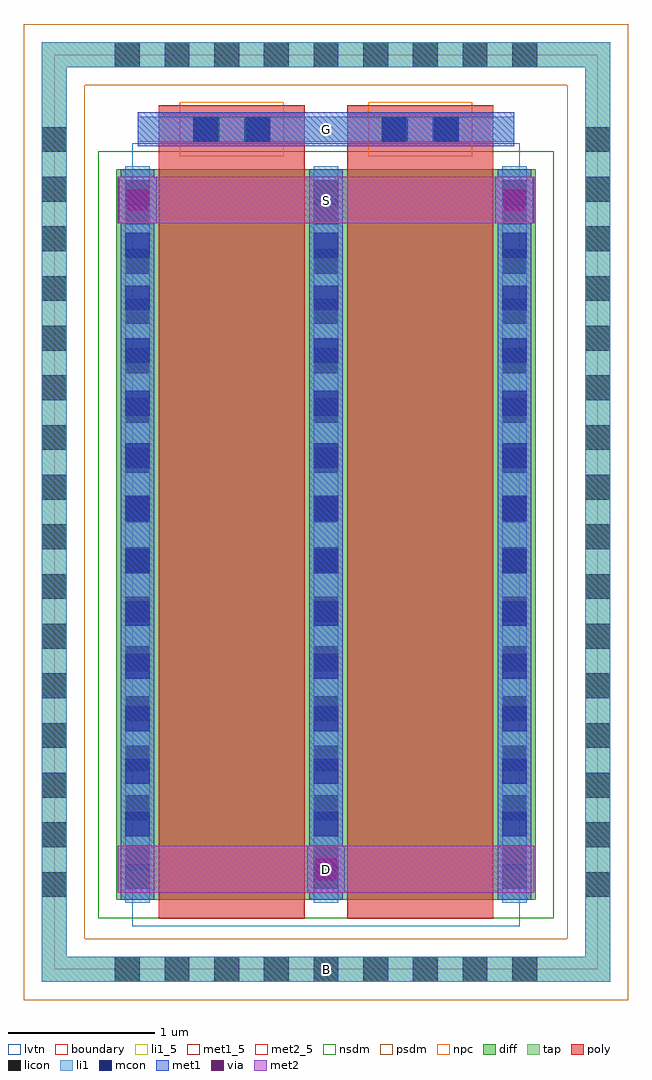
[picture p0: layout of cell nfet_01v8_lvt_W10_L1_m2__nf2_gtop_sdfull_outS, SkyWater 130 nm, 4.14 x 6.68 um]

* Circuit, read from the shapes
.subckt nfet_01v8_lvt_W10_L1_m2__nf2_gtop_sdfull_outS B D G S
XM1 D G S B sky130_fd_pr__nfet_01v8_lvt w=5 l=1 m=2
.ends

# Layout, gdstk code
import gdstk
lib = gdstk.Library(unit=1e-6, precision=1e-09)
def R(c, l, rs):  # rectangles x0, y0, x1, y1
    for r in rs: c.add(gdstk.rectangle(r[:2], r[2:], *l))
def A(c, l, x, y, w, h, nx, ny, dx, dy):  # array of equal rectangles
    R(c, l, [(x+i*dx, y+j*dy, x+i*dx+w, y+j*dy+h) for i in range(nx) for j in range(ny)])
diff = (65, 20)
tap = (65, 44)
poly = (66, 20)
licon = (66, 44)
li1_5 = (67, 5)
li1 = (67, 20)
mcon = (67, 44)
met1_5 = (68, 5)
met1 = (68, 20)
via = (68, 44)
met2_5 = (69, 5)
met2 = (69, 20)
nsdm = (93, 44)
psdm = (94, 20)
npc = (95, 20)
lvtn = (125, 44)
boundary = (235, 4)

sky130_fd_pr__nfet_01v8_ = lib.new_cell('sky130_fd_pr__nfet_01v8_lvt_2A8MMV')
R(sky130_fd_pr__nfet_01v8_, diff, [(-1.435,-2.655,1.435,2.345)])
R(sky130_fd_pr__nfet_01v8_, tap, [(-1.945,-3.215,1.945,-3.045), (-1.945,-3.045,-1.775,3.045), (1.775,-3.045,1.945,3.045), (-1.945,3.045,1.945,3.215)])
R(sky130_fd_pr__nfet_01v8_, poly, [(-1.145,-2.785,-0.145,2.785), (0.145,-2.785,1.145,2.785)])
A(sky130_fd_pr__nfet_01v8_, licon, -1.445, -3.215, 0.17, 0.17, 9, 2, 0.34, 6.26)
A(sky130_fd_pr__nfet_01v8_, licon, -1.945, -2.635, 0.17, 0.17, 1, 16, 0, 0.34)
A(sky130_fd_pr__nfet_01v8_, licon, 1.775, -2.635, 0.17, 0.17, 1, 16, 0, 0.34)
A(sky130_fd_pr__nfet_01v8_, licon, -1.375, -2.45, 0.17, 0.17, 3, 14, 1.29, 0.34)
R(sky130_fd_pr__nfet_01v8_, licon, [(-0.9,2.535,-0.73,2.705), (-0.56,2.535,-0.39,2.705), (0.39,2.535,0.56,2.705), (0.73,2.535,0.9,2.705)])
A(sky130_fd_pr__nfet_01v8_, li1, -1.375, -2.675, 0.17, 5.04, 3, 1, 1.29, 0)
R(sky130_fd_pr__nfet_01v8_, li1, [(-1.945,-3.215,1.945,-3.045), (-1.945,-3.045,-1.775,3.045), (1.775,-3.045,1.945,3.045), (-1.29,2.535,1.29,2.705), (-1.945,3.045,1.945,3.215)])
A(sky130_fd_pr__nfet_01v8_, mcon, -1.375, -2.58, 0.17, 0.17, 3, 14, 1.29, 0.36)
R(sky130_fd_pr__nfet_01v8_, mcon, [(-0.91,2.535,-0.74,2.705), (-0.55,2.535,-0.38,2.705), (0.38,2.535,0.55,2.705), (0.74,2.535,0.91,2.705)])
A(sky130_fd_pr__nfet_01v8_, met1, -1.405, -2.655, 0.23, 5, 3, 1, 1.29, 0)
R(sky130_fd_pr__nfet_01v8_, met1, [(-1.125,2.505,-0.165,2.535), (0.165,2.505,1.125,2.535), (-1.29,2.535,1.29,2.705), (-1.125,2.705,-0.165,2.735), (0.165,2.705,1.125,2.735)])
R(sky130_fd_pr__nfet_01v8_, nsdm, [(-1.56,-2.78,1.56,2.47)])
R(sky130_fd_pr__nfet_01v8_, psdm, [(-2.07,-3.34,2.07,-2.92), (-2.07,-2.92,-1.65,2.92), (1.65,-2.92,2.07,2.92), (-2.07,2.92,2.07,3.34)])
R(sky130_fd_pr__nfet_01v8_, npc, [(-1,2.435,-0.29,2.805), (0.29,2.435,1,2.805)])
R(sky130_fd_pr__nfet_01v8_, lvtn, [(-1.325,-2.835,1.325,2.525)])
R(sky130_fd_pr__nfet_01v8_, boundary, [(-1.86,-3.13,1.86,3.13)])
sky130_fd_pr__nfet_01v8_.add(gdstk.Label('B', (0,-3.13), layer=67, texttype=5))
sky130_fd_pr__nfet_01v8_.add(gdstk.Label('D0', (-1.29,-0.155), layer=67, texttype=5))
sky130_fd_pr__nfet_01v8_.add(gdstk.Label('G', (0.645,2.62), layer=67, texttype=5))
sky130_fd_pr__nfet_01v8_.add(gdstk.Label('G', (-0.645,2.62), layer=67, texttype=5))
sky130_fd_pr__nfet_01v8_.add(gdstk.Label('S1', (0,-0.155), layer=67, texttype=5))

nfet_01v8_lvt_w10_l1_m2_ = lib.new_cell('nfet_01v8_lvt_W10_L1_m2__nf2_gtop_sdfull_outS')
R(nfet_01v8_lvt_w10_l1_m2_, li1_5, [(1.775,-0.085,1.945,0.085)])
R(nfet_01v8_lvt_w10_l1_m2_, li1, [(1.775,-0.085,1.945,0.085)])
R(nfet_01v8_lvt_w10_l1_m2_, met1_5, [(0.57,5.635,3.15,5.865)])
R(nfet_01v8_lvt_w10_l1_m2_, met1, [(1.73,0.525,1.99,0.845), (0.44,5.105,0.7,5.425), (3.02,5.105,3.28,5.425), (0.57,5.635,3.15,5.865)])
R(nfet_01v8_lvt_w10_l1_m2_, via, [(1.785,0.61,1.935,0.76), (0.495,5.19,0.645,5.34), (3.075,5.19,3.225,5.34)])
R(nfet_01v8_lvt_w10_l1_m2_, met2_5, [(0.435,0.525,3.285,0.845), (0.435,5.105,3.285,5.425)])
R(nfet_01v8_lvt_w10_l1_m2_, met2, [(0.435,0.525,3.285,0.845), (0.435,5.105,3.285,5.425)])
nfet_01v8_lvt_w10_l1_m2_.add(gdstk.Reference(sky130_fd_pr__nfet_01v8_, (1.86,3.13)))
nfet_01v8_lvt_w10_l1_m2_.add(gdstk.Label('S', (1.86,5.265), layer=69, texttype=5))
nfet_01v8_lvt_w10_l1_m2_.add(gdstk.Label('D', (1.86,0.685), layer=69, texttype=5))
nfet_01v8_lvt_w10_l1_m2_.add(gdstk.Label('G', (1.86,5.75), layer=68, texttype=5))
nfet_01v8_lvt_w10_l1_m2_.add(gdstk.Label('B', (1.86,0), layer=67, texttype=5))

lib.write_gds('nfet_01v8_lvt_W10_L1_m2__nf2_gtop_sdfull_outS.gds')
